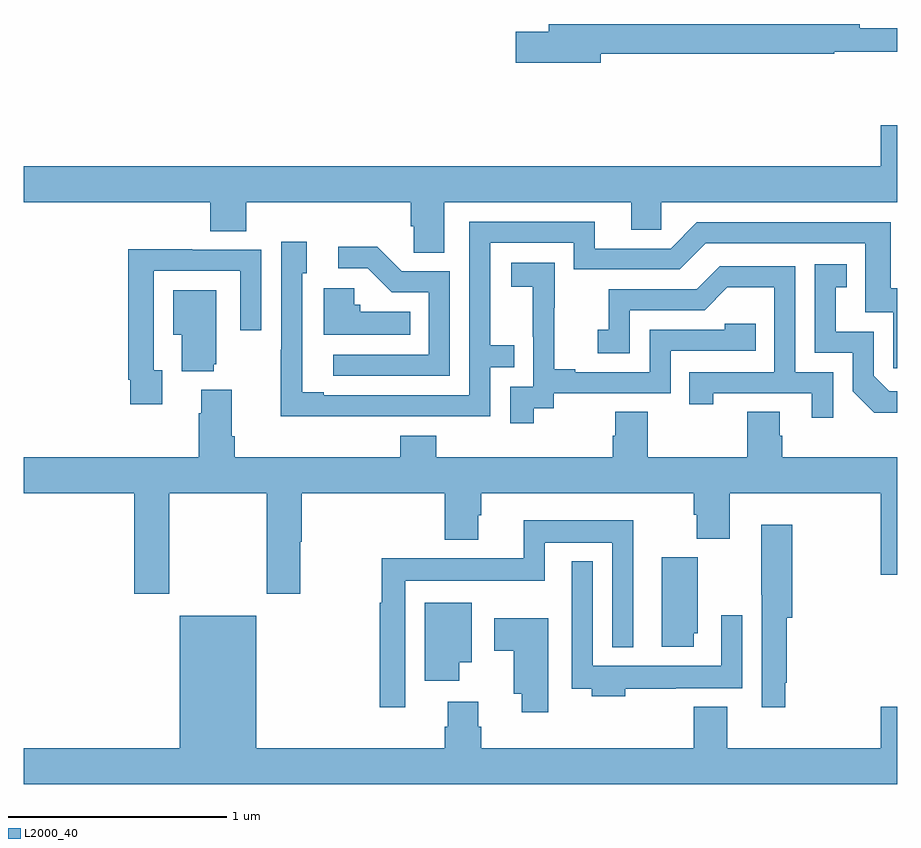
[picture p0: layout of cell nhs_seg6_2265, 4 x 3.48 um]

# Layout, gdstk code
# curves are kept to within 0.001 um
import gdstk
lib = gdstk.Library(unit=1e-6, precision=1e-09)
def P(c, l, *ps):  # polygons
    for p in ps: c.add(gdstk.Polygon(p, *l))
L2000_40 = (2000, 40)

nhs_seg6_2265 = lib.new_cell('nhs_seg6_2265')
P(nhs_seg6_2265, L2000_40, [(247.642,985.312),(248.711,985.312),(248.711,985.32),(249,985.32),(249,985.429),(248.828,985.429),(248.828,985.448),(247.403,985.448),(247.403,985.412),(247.254,985.412),(247.254,985.27),(247.642,985.27)],
  [(246.925,984.632),(247.781,984.632),(247.781,984.505),(247.92,984.505),(247.92,984.632),(249,984.632),(249,984.985),(248.924,984.985),(248.924,984.796),(245,984.796),(245,984.632),(245.855,984.632),(245.855,984.499),(246.02,984.499),(246.02,984.632),(246.773,984.632),(246.773,984.523),(246.786,984.523),(246.786,984.4),(246.925,984.4)],
  [(246.641,983.652),(247.137,983.652),(247.137,983.877),(247.247,983.877),(247.247,983.978),(247.137,983.978),(247.137,984.447),(247.518,984.447),(247.518,984.324),(248.004,984.324),(248.124,984.444),(248.853,984.444),(248.853,984.129),(248.982,984.129),(248.982,983.871),(249,983.871),(249,984.238),(248.969,984.238),(248.969,984.54),(248.082,984.54),(247.962,984.42),(247.615,984.42),(247.615,984.543),(247.041,984.543),(247.041,983.748),(246.373,983.748),(246.373,983.761),(246.276,983.761),(246.276,984.306),(246.295,984.306),(246.295,984.451),(246.18,984.451),(246.18,983.957),(246.178,983.957),(246.178,983.651)],
  [(246.951,984.315),(246.732,984.315),(246.619,984.428),(246.441,984.428),(246.441,984.33),(246.575,984.33),(246.686,984.219),(246.855,984.219),(246.855,983.934),(246.417,983.934),(246.417,983.838),(246.951,983.838)],
  [(245.635,983.862),(245.595,983.862),(245.595,984.318),(245.991,984.318),(245.991,984.045),(246.087,984.045),(246.087,984.414),(245.771,984.414),(245.771,984.416),(245.479,984.416),(245.479,983.818),(245.487,983.818),(245.487,983.706),(245.635,983.706)],
  [(247.336,983.689),(247.428,983.689),(247.428,983.757),(247.962,983.757),(247.962,983.952),(248.351,983.952),(248.351,984.075),(248.211,984.075),(248.211,984.048),(247.866,984.048),(247.866,983.853),(247.525,983.853),(247.525,983.866),(247.43,983.866),(247.43,984.149),(247.431,984.149),(247.431,984.355),(247.233,984.355),(247.233,984.245),(247.331,984.245),(247.331,984.017),(247.332,984.017),(247.332,983.787),(247.227,983.787),(247.227,983.619),(247.336,983.619)],
  [(249,983.766),(248.964,983.766),(248.892,983.838),(248.892,984.039),(248.719,984.039),(248.719,984.243),(248.768,984.243),(248.768,984.349),(248.622,984.349),(248.622,983.943),(248.796,983.943),(248.796,983.766),(248.894,983.669),(249,983.669)],
  [(248.706,983.853),(248.532,983.853),(248.532,984.339),(248.186,984.339),(248.081,984.234),(247.678,984.234),(247.678,984.049),(247.629,984.049),(247.629,983.94),(247.776,983.94),(247.776,984.138),(248.118,984.138),(248.222,984.242),(248.436,984.242),(248.436,983.853),(248.047,983.853),(248.047,983.706),(248.158,983.706),(248.158,983.757),(248.609,983.757),(248.609,983.646),(248.706,983.646)],
  [(246.77,984.13),(246.54,984.13),(246.54,984.162),(246.513,984.162),(246.513,984.238),(246.374,984.238),(246.374,984.026),(246.77,984.026)],
  [(245.87,983.889),(245.881,983.889),(245.881,984.229),(245.684,984.229),(245.684,984.026),(245.723,984.026),(245.723,983.858),(245.87,983.858)],
  [(247.857,983.672),(247.709,983.672),(247.709,983.562),(247.697,983.562),(247.697,983.464),(246.89,983.464),(246.89,983.563),(246.725,983.563),(246.725,983.464),(245.966,983.464),(245.966,983.56),(245.953,983.56),(245.953,983.773),(245.813,983.773),(245.813,983.666),(245.801,983.666),(245.801,983.464),(245,983.464),(245,983.3),(245.507,983.3),(245.507,982.839),(245.667,982.839),(245.667,983.3),(246.112,983.3),(246.112,982.839),(246.267,982.839),(246.267,983.078),(246.272,983.078),(246.272,983.3),(246.929,983.3),(246.929,983.087),(247.081,983.087),(247.081,983.199),(247.094,983.199),(247.094,983.3),(248.069,983.3),(248.069,983.201),(248.081,983.201),(248.081,983.092),(248.234,983.092),(248.234,983.3),(248.924,983.3),(248.924,982.926),(249,982.926),(249,983.464),(248.474,983.464),(248.474,983.562),(248.461,983.562),(248.461,983.672),(248.314,983.672),(248.314,983.464),(247.857,983.464)],
  [(246.747,982.898),(247.386,982.898),(247.386,983.072),(247.695,983.072),(247.695,982.595),(247.792,982.595),(247.792,983.176),(247.289,983.176),(247.289,983.002),(246.639,983.002),(246.639,982.798),(246.631,982.798),(246.631,982.32),(246.747,982.32)],
  [(248.488,982.432),(248.495,982.432),(248.495,982.73),(248.52,982.73),(248.52,983.155),(248.378,983.155),(248.378,982.834),(248.379,982.834),(248.379,982.32),(248.488,982.32)],
  [(248.068,982.659),(248.086,982.659),(248.086,983.007),(247.922,983.007),(247.922,982.596),(248.068,982.596)],
  [(247.754,982.404),(247.985,982.404),(247.985,982.406),(248.289,982.406),(248.289,982.741),(248.193,982.741),(248.193,982.51),(247.605,982.51),(247.605,982.987),(247.509,982.987),(247.509,982.404),(247.601,982.404),(247.601,982.37),(247.754,982.37)],
  [(246.994,982.526),(247.051,982.526),(247.051,982.798),(246.836,982.798),(246.836,982.44),(246.994,982.44)],
  [(249,982.321),(248.924,982.321),(248.924,982.132),(248.221,982.132),(248.221,982.321),(248.069,982.321),(248.069,982.132),(247.094,982.132),(247.094,982.23),(247.081,982.23),(247.081,982.345),(246.941,982.345),(246.941,982.23),(246.929,982.23),(246.929,982.132),(246.064,982.132),(246.064,982.738),(245.714,982.738),(245.714,982.132),(245,982.132),(245,981.968),(249,981.968)],
  [(247.402,982.726),(247.155,982.726),(247.155,982.579),(247.244,982.579),(247.244,982.382),(247.28,982.382),(247.28,982.296),(247.402,982.296)])

lib.write_gds('nhs_seg6_2265.gds')
